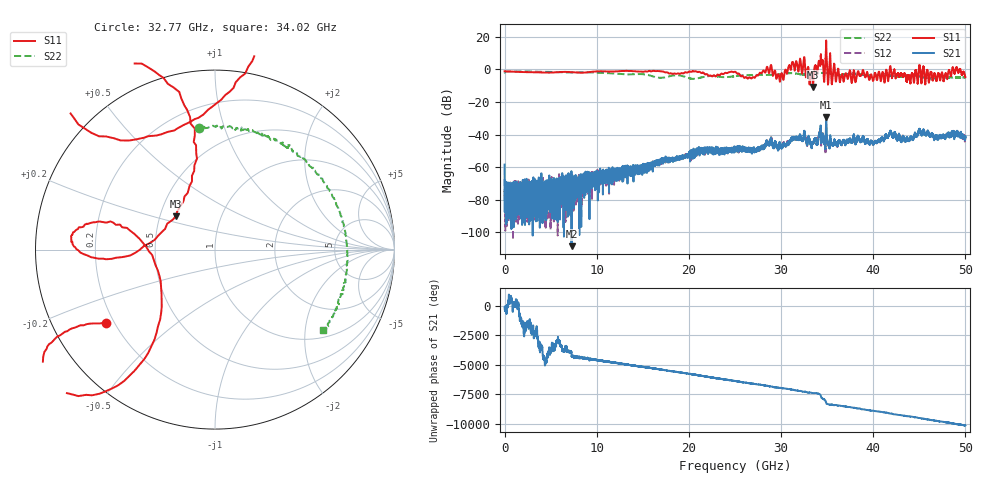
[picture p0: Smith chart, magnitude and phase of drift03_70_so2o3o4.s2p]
!Created with skrf (http://scikit-rf.org).
# Hz S RI R 50.0
!freq ReS11 ImS11 ReS21 ImS21 ReS12 ImS12 ReS22 ImS22
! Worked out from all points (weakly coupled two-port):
!   10001 points, 300 kHz to 50 GHz, reference 50 ohm
!   highest |S21| = -29.31 dB at 34.9 GHz (marker M1); lowest = -108.4 dB at 7.265 GHz (marker M2)
!   lowest |S11| = -10.9 dB at 33.47 GHz (marker M3), VSWR 1.80, Z = 30.2 + j12.2 ohm
!   |S11| at or under -10 dB: 33.44836 GHz to 33.48293 GHz (34.57 MHz wide, 0.103 % of centre)
!   |S22| runs from -5.9 to -1.3 dB; largest |S21 - S12| = 0.0071
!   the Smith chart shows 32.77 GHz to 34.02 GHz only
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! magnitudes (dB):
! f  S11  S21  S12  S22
! 300 kHz  -1.3  -58.4  -67.2  -2.0
! 255.3 MHz  -1.3  -69.3  -83.3  -1.4
! 540.3 MHz  -1.4  -71.4  -72.9  -1.5
! 7.265 GHz  -1.8  -108.4  -74.8  -2.0
! 8.335 GHz  -2.2  -75.7  -69.8  -1.9
! 16.67 GHz  -1.1  -57.3  -57.0  -5.2
! 25 GHz  -1.5  -48.7  -47.5  -4.3
! 26.92 GHz  -4.9  -48.7  -49.1  -3.5
! 28.72 GHz  -2.3  -45.4  -45.6  -3.6
! 30.06 GHz  -2.5  -47.6  -47.4  -2.8
! 31.87 GHz  -1.4  -42.5  -42.4  -2.9
! 33.34 GHz  -2.2  -47.8  -47.4  -2.9
! 33.47 GHz  -10.9  -45.5  -45.1  -2.8
! 34.29 GHz  6.4  -34.9  -35.2  -2.3
! 34.9 GHz  17.6  -29.3  -31.2  -2.4
! 36.58 GHz  -3.5  -45.8  -46.0  -3.6
! 40.19 GHz  -2.2  -44.6  -44.1  -3.7
! 41.67 GHz  -5.4  -41.1  -40.7  -3.7
! 43.84 GHz  -3.6  -43.6  -43.8  -3.9
! 45.19 GHz  -6.2  -39.8  -39.9  -4.4
! 49.21 GHz  -1.9  -40.6  -39.4  -5.1
! 50 GHz  -4.9  -41.1  -42.5  -5.0
